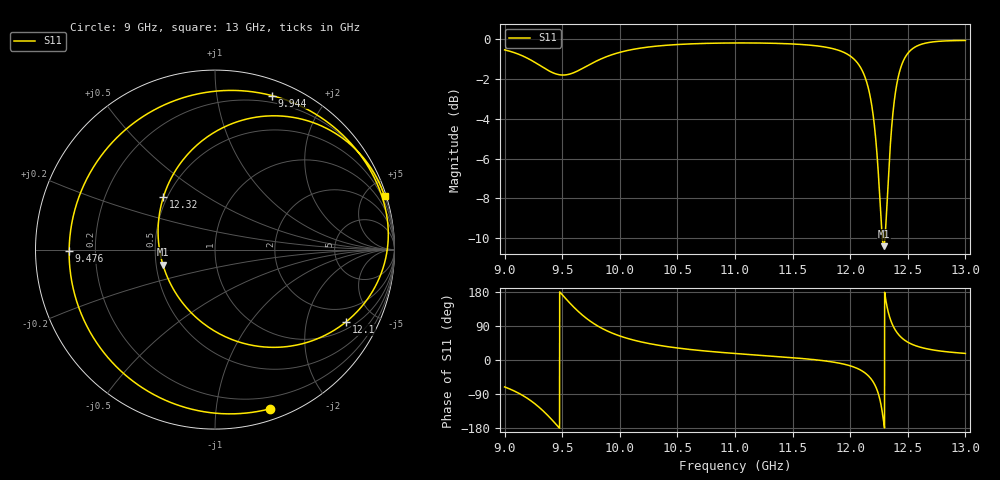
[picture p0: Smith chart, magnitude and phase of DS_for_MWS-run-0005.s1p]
! TOUCHSTONE file generated by CST DESIGN STUDIO
! Date and time: Tue Feb  4 16:13:15 2025
! Project name: C:\Work\MatlabApps\UnitCellOptimizationMatlab\CST\unitcell.cst
! Tree item: Tasks\Sweep1\SPara1\S-Parameters
! Header version: 2024
! Port assignment regex: !\s*Touchstone port\s*([0-9]+)\s*=\s*(CST MWS port|CST DES external port|CST DES block port)\s*(.+)\s* \(\"(.*)\"\)(\s*mode\s*([0-9]+))?.*
! Touchstone port assignment:
! Touchstone port 1 = CST DES external port 1 ("")
# GHz S MA R 50
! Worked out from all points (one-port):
!   4001 points, 9 GHz to 13 GHz, reference 50 ohm
!   lowest |S11| = -10.4 dB at 12.29 GHz (marker M1), VSWR 1.87, Z = 27.2 - j4.97 ohm
!   |S11| at or under -10 dB: 12.2793 GHz to 12.30157 GHz (22.27 MHz wide, 0.181 % of centre)
!   S11 on the Smith chart (normalised r, x): 9 GHz: 0.09, -1.40; 9.476 GHz: 0.10, -0.00; 9.944 GHz: 0.14, +1.43; 12.1 GHz: 1.30, -3.44; 12.32 GHz: 0.48, +0.33; 13 GHz: 0.21, +6.52
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9  0.9383 -71.0
9.15  0.9078 -92.3
9.261  0.8736 -115.1
9.385  0.8312 -149.5
9.476  0.8127 -179.6
9.5  0.8114 172.2
9.604  0.8234 138.4
9.698  0.8498 112.8
9.804  0.8816 90.5
9.944  0.9148 69.7
10  0.9249 63.4
10.215  0.951 45.8
10.5  0.9676 31.7
11  0.9765 17.2
11.5  0.9707 6.1
12  0.9057 -15.3
12.103  0.8341 -28.8
12.166  0.7343 -44.4
12.221  0.564 -70.1
12.256  0.4052 -101.9
12.291  0.3022 -164.0
12.324  0.4098 134.7
12.358  0.5914 99.7
12.392  0.7316 78.9
12.443  0.854 59.7
12.5  0.9196 47.0
12.669  0.9774 29.3
13  0.9906 17.4
